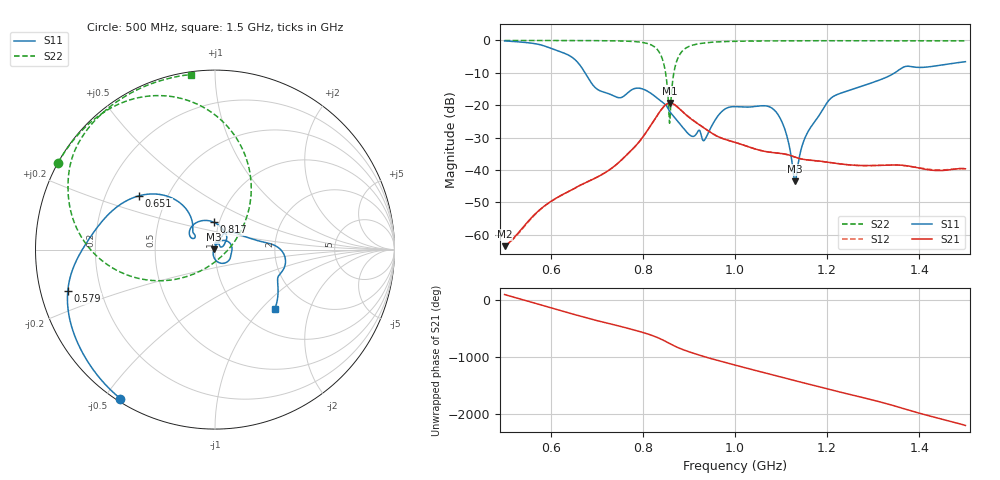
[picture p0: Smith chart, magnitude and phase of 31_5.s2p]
! TOUCHSTONE file generated by CST MICROWAVE STUDIO
! Date and time: Mon Oct 26 12:30:14 2020
! Project name: Scenario_1_Circular_Tissue_out_of_Line.cst
! Parameters = {dy1=174.23; L_HA=400; MT=2.54; Rad_Dielectric=30; Rad_Lower=7.3; Rad_Upper=30; a_HA=580; a_WG=246; b_HA=500; b_WG=121; c_HA=0; c_WG=187; d_feed=85; dx1=866; h_feed=15; h_lower=18; h_upper=40}
! Header version: 2018
! Port assignment regex: !\s*Touchstone port\s*([0-9]+)\s*=\s*(CST MWS port|CST DS port)\s*([0-9]+|Zmin|Zmax)\s*\(\"(.*)\"\)(\s*mode\s*([0-9]+))?.*
! Touchstone port assignment:
! Touchstone port 1 = CST MWS port 1 ("")
! Touchstone port 2 = CST MWS port 2 ("")
# GHz S DB R 50
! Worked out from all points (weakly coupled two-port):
!   1001 points, 500 MHz to 1.5 GHz, reference 50 ohm
!   highest |S21| = -19.34 dB at 859 MHz (marker M1); lowest = -63.5 dB at 500 MHz (marker M2)
!   lowest |S11| = -43.6 dB at 1.13 GHz (marker M3), VSWR 1.01, Z = 49.4 + j0.161 ohm
!   |S11| at or under -10 dB: 674.6 MHz to 1.347 GHz (672.2 MHz wide, 66.5 % of centre)
!   |S22| runs from -25.6 to 0.0 dB; largest |S21 - S12| = 0.00069
!   S11 on the Smith chart (normalised r, x): 500 MHz: 0.01, -0.55; 579 MHz: 0.08, -0.14; 651 MHz: 0.35, +0.28; 817 MHz: 0.94, +0.29; 1.5 GHz: 1.41, -1.19
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0.5  -0.14 -122.4  -63.53 94.7  -63.50 94.5  -0.01 151.1
0.579  -1.40 -164.4  -51.95 -88.2  -52.02 -88.4  -0.02 145.7
0.651  -5.71 144.6  -45.74 103.9  -45.75 103.9  -0.03 139.9
0.667  -8.32 130.5  -44.52 67.4  -44.52 67.5  -0.04 138.4
0.698  -14.74 132.6  -42.42 0.9  -42.42 1.0  -0.06 135.1
0.742  -17.46 145.5  -38.39 -86.6  -38.40 -86.5  -0.14 129.0
0.817  -16.29 93.0  -26.29 103.3  -26.30 103.4  -1.31 102.2
0.834  -18.15 71.9  -22.57 50.0  -22.59 50.0  -3.28 83.9
0.846  -19.48 57.1  -20.35 4.5  -20.35 4.6  -7.57 61.2
0.859  -22.05 39.2  -19.34 -51.0  -19.33 -51.0  -24.18 -81.1
0.871  -24.17 30.5  -20.07 -100.3  -20.07 -100.3  -7.57 -156.3
0.888  -27.10 21.9  -22.25 -158.0  -22.23 -157.8  -2.95 178.2
0.934  -30.74 80.1  -27.15 79.6  -27.17 79.0  -0.78 153.2
0.969  -22.29 41.0  -30.07 1.2  -30.07 1.1  -0.40 145.1
1  -20.45 4.4  -31.47 -66.1  -31.47 -66.0  -0.27 140.2
1.088  -21.90 -68.8  -34.73 109.5  -34.67 108.9  -0.14 130.8
1.11  -28.26 -101.6  -35.12 61.9  -35.17 60.9  -0.12 128.9
1.13  -43.56 165.8  -36.00 18.4  -36.04 18.4  -0.11 127.2
1.167  -26.26 65.6  -37.01 -55.6  -37.07 -55.6  -0.10 124.2
1.213  -17.34 46.2  -37.85 -151.8  -37.82 -151.4  -0.09 120.6
1.334  -11.01 8.2  -38.47 -37.8  -38.48 -37.9  -0.09 111.4
1.5  -6.57 -44.6  -39.62 -49.9  -39.63 -49.8  -0.13 97.9
